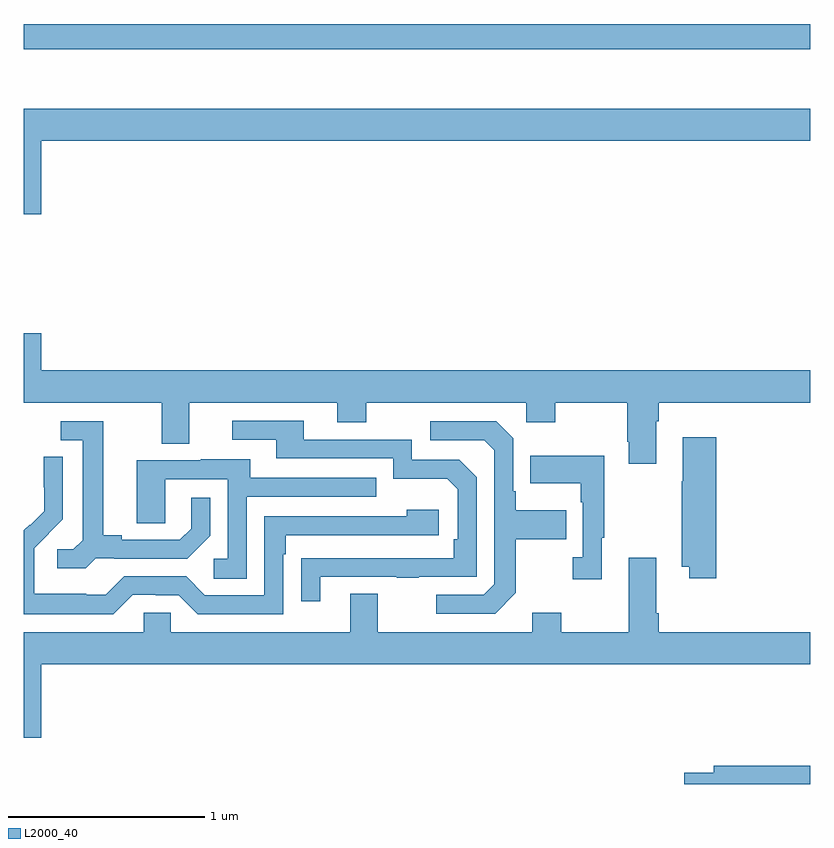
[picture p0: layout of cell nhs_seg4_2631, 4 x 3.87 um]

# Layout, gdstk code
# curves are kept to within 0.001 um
import gdstk
lib = gdstk.Library(unit=1e-6, precision=1e-09)
def R(c, l, rs):  # rectangles x0, y0, x1, y1
    for r in rs: c.add(gdstk.rectangle(r[:2], r[2:], *l))
def P(c, l, *ps):  # polygons
    for p in ps: c.add(gdstk.Polygon(p, *l))
L2000_40 = (2000, 40)

nhs_seg4_2631 = lib.new_cell('nhs_seg4_2631')
R(nhs_seg4_2631, L2000_40, [(249,778.638,253,778.766)])
P(nhs_seg4_2631, L2000_40, [(249.088,778.172),(253,778.172),(253,778.336),(249,778.336),(249,777.798),(249.088,777.798)],
  [(252.217,776.744),(252.23,776.744),(252.23,776.84),(253,776.84),(253,777.004),(249.088,777.004),(249.088,777.193),(249,777.193),(249,776.84),(249.701,776.84),(249.701,776.632),(249.841,776.632),(249.841,776.84),(250.595,776.84),(250.595,776.741),(250.743,776.741),(250.743,776.84),(251.556,776.84),(251.556,776.741),(251.703,776.741),(251.703,776.84),(252.07,776.84),(252.07,776.641),(252.077,776.641),(252.077,776.529),(252.217,776.529)],
  [(250.507,775.953),(250.897,775.953),(250.897,775.948),(251.009,775.948),(251.009,775.953),(251.304,775.953),(251.304,776.46),(251.214,776.55),(250.974,776.55),(250.974,776.652),(250.423,776.652),(250.423,776.748),(250.059,776.748),(250.059,776.652),(250.283,776.652),(250.283,776.556),(250.878,776.556),(250.878,776.453),(251.155,776.453),(251.208,776.4),(251.208,776.146),(251.188,776.146),(251.188,776.049),(250.411,776.048),(250.411,775.83),(250.507,775.83)],
  [(251.503,775.873),(251.503,776.146),(251.759,776.146),(251.759,776.293),(251.503,776.293),(251.503,776.389),(251.49,776.389),(251.49,776.658),(251.403,776.745),(251.067,776.745),(251.067,776.649),(251.343,776.649),(251.394,776.598),(251.394,775.917),(251.34,775.863),(251.097,775.863),(251.097,775.767),(251.397,775.767)],
  [(249.366,776.049),(249.46,776.049),(249.46,776.046),(249.832,776.046),(249.948,776.162),(249.948,776.356),(249.851,776.356),(249.851,776.199),(249.794,776.142),(249.499,776.142),(249.499,776.165),(249.403,776.165),(249.403,776.745),(249.189,776.745),(249.189,776.649),(249.299,776.649),(249.299,776.141),(249.252,776.094),(249.171,776.094),(249.171,775.997),(249.314,775.997)],
  [(252.521,776.665),(252.353,776.665),(252.353,776.441),(252.346,776.441),(252.346,776.006),(252.386,776.006),(252.386,775.947),(252.521,775.947)],
  [(251.941,776.153),(251.953,776.153),(251.953,776.569),(251.575,776.569),(251.575,776.429),(251.832,776.429),(251.832,776.333),(251.844,776.333),(251.844,776.054),(251.793,776.054),(251.793,775.941),(251.941,775.941)],
  [(249.555,775.863),(249.671,775.863),(249.671,775.86),(249.789,775.86),(249.885,775.764),(250.32,775.764),(250.32,776.069),(250.333,776.069),(250.333,776.166),(251.11,776.166),(251.11,776.296),(250.949,776.296),(250.949,776.262),(250.224,776.262),(250.224,775.86),(249.921,775.86),(249.825,775.956),(249.51,775.956),(249.417,775.863),(249.317,775.863),(249.317,775.867),(249.054,775.867),(249.054,776.001),(249.052,776.001),(249.052,776.098),(249.198,776.246),(249.198,776.564),(249.102,776.564),(249.102,776.41),(249.104,776.41),(249.104,776.288),(249.033,776.217),(249.03,776.22),(249,776.19),(249,775.763),(249.455,775.763)],
  [(250.134,776.361),(250.793,776.361),(250.793,776.457),(250.153,776.457),(250.153,776.551),(249.899,776.551),(249.899,776.547),(249.575,776.547),(249.575,776.227),(249.72,776.227),(249.72,776.451),(250.038,776.451),(250.038,776.046),(249.966,776.046),(249.966,775.945),(250.134,775.945)],
  [(253,775.672),(252.23,775.672),(252.23,775.768),(252.217,775.768),(252.217,776.05),(252.077,776.05),(252.077,775.672),(251.733,775.672),(251.733,775.771),(251.585,775.771),(251.585,775.672),(250.801,775.672),(250.801,775.867),(250.661,775.867),(250.661,775.672),(249.747,775.672),(249.747,775.77),(249.609,775.77),(249.609,775.672),(249,775.672),(249,775.134),(249.088,775.134),(249.088,775.508),(253,775.508)],
  [(253,774.992),(252.509,774.992),(252.509,774.956),(252.36,774.956),(252.36,774.9),(253,774.9)])

lib.write_gds('nhs_seg4_2631.gds')
